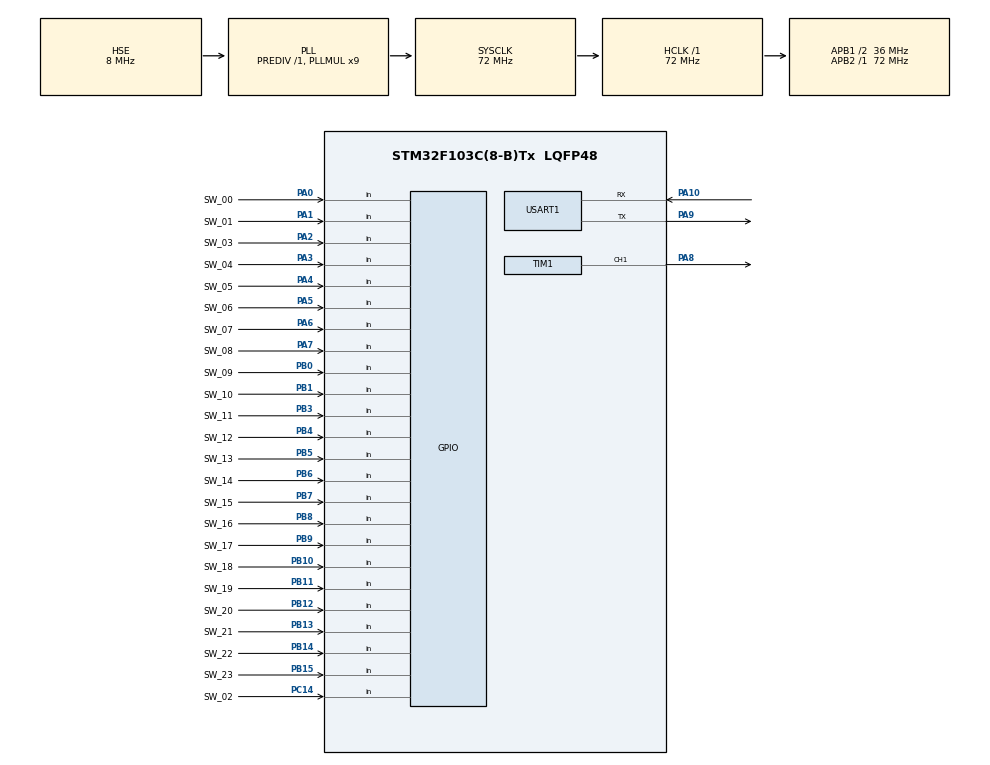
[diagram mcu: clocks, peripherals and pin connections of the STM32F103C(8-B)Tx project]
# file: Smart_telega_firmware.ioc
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Dma.Request0=TIM1_CH1
Dma.TIM1_CH1.0.Direction=DMA_MEMORY_TO_PERIPH
Dma.TIM1_CH1.0.Instance=DMA1_Channel2
Dma.TIM1_CH1.0.MemDataAlignment=DMA_MDATAALIGN_BYTE
Dma.TIM1_CH1.0.MemInc=DMA_MINC_ENABLE
Dma.TIM1_CH1.0.Mode=DMA_NORMAL
Dma.TIM1_CH1.0.PeriphDataAlignment=DMA_PDATAALIGN_BYTE
Dma.TIM1_CH1.0.PeriphInc=DMA_PINC_ENABLE
Dma.TIM1_CH1.0.Priority=DMA_PRIORITY_LOW
Mcu.Family=STM32F1
Mcu.Name=STM32F103C(8-B)Tx
Mcu.Package=LQFP48
NVIC.DMA1_Channel2_IRQn=true\:0\:0\:false\:false\:true\:false\:true\:true
NVIC.PriorityGroup=NVIC_PRIORITYGROUP_4
NVIC.USART1_IRQn=true\:0\:0\:false\:false\:true\:true\:true\:true
PA0-WKUP.GPIO_Label=SW_00
PA0-WKUP.GPIO_PuPd=GPIO_PULLUP
PA0-WKUP.Signal=GPIO_Input
PA1.GPIO_Label=SW_01
PA1.GPIO_PuPd=GPIO_PULLUP
PA1.Signal=GPIO_Input
PA10.Mode=Asynchronous
PA10.Signal=USART1_RX
PA2.GPIO_Label=SW_03
PA2.GPIO_PuPd=GPIO_PULLUP
PA2.Signal=GPIO_Input
PA3.GPIO_Label=SW_04
PA3.GPIO_PuPd=GPIO_PULLUP
PA3.Signal=GPIO_Input
PA4.GPIO_Label=SW_05
PA4.GPIO_PuPd=GPIO_PULLUP
PA4.Signal=GPIO_Input
PA5.GPIO_Label=SW_06
PA5.GPIO_PuPd=GPIO_PULLUP
PA5.Signal=GPIO_Input
PA6.GPIO_Label=SW_07
PA6.GPIO_PuPd=GPIO_PULLUP
PA6.Signal=GPIO_Input
PA7.GPIO_Label=SW_08
PA7.GPIO_PuPd=GPIO_PULLUP
PA7.Signal=GPIO_Input
PA8.Signal=S_TIM1_CH1
PA9.Mode=Asynchronous
PA9.Signal=USART1_TX
PB0.GPIO_Label=SW_09
PB0.GPIO_PuPd=GPIO_PULLUP
PB0.Signal=GPIO_Input
PB1.GPIO_Label=SW_10
PB1.GPIO_PuPd=GPIO_PULLUP
PB1.Signal=GPIO_Input
PB10.GPIO_Label=SW_18
PB10.GPIO_PuPd=GPIO_PULLUP
PB10.Signal=GPIO_Input
PB11.GPIO_Label=SW_19
PB11.GPIO_PuPd=GPIO_PULLUP
PB11.Signal=GPIO_Input
PB12.GPIO_Label=SW_20
PB12.GPIO_PuPd=GPIO_PULLUP
PB12.Signal=GPIO_Input
PB13.GPIO_Label=SW_21
PB13.GPIO_PuPd=GPIO_PULLUP
PB13.Signal=GPIO_Input
PB14.GPIO_Label=SW_22
PB14.GPIO_PuPd=GPIO_PULLUP
PB14.Signal=GPIO_Input
PB15.GPIO_Label=SW_23
PB15.GPIO_PuPd=GPIO_PULLUP
PB15.Signal=GPIO_Input
PB3.GPIO_Label=SW_11
PB3.GPIO_PuPd=GPIO_PULLUP
PB3.Signal=GPIO_Input
PB4.GPIO_Label=SW_12
PB4.GPIO_PuPd=GPIO_PULLUP
PB4.Signal=GPIO_Input
PB5.GPIO_Label=SW_13
PB5.GPIO_PuPd=GPIO_PULLUP
PB5.Signal=GPIO_Input
PB6.GPIO_Label=SW_14
PB6.GPIO_PuPd=GPIO_PULLUP
PB6.Signal=GPIO_Input
PB7.GPIO_Label=SW_15
PB7.GPIO_PuPd=GPIO_PULLUP
PB7.Signal=GPIO_Input
PB8.GPIO_Label=SW_16
PB8.GPIO_PuPd=GPIO_PULLUP
PB8.Signal=GPIO_Input
PB9.GPIO_Label=SW_17
PB9.GPIO_PuPd=GPIO_PULLUP
PB9.Signal=GPIO_Input
PC14-OSC32_IN.GPIO_Label=SW_02
PC14-OSC32_IN.GPIO_PuPd=GPIO_PULLUP
PC14-OSC32_IN.Signal=GPIO_Input
PD0-OSC_IN.Mode=HSE-External-Oscillator
PD0-OSC_IN.Signal=RCC_OSC_IN
PD1-OSC_OUT.Mode=HSE-External-Oscillator
PD1-OSC_OUT.Signal=RCC_OSC_OUT
ProjectManager.HeapSize=0x200
ProjectManager.StackSize=0x400
ProjectManager.TargetToolchain=STM32CubeIDE
RCC.AHBFreq_Value=72000000
RCC.APB1CLKDivider=RCC_HCLK_DIV2
RCC.APB1Freq_Value=36000000
RCC.APB1TimFreq_Value=72000000
RCC.APB2Freq_Value=72000000
RCC.APB2TimFreq_Value=72000000
RCC.HCLKFreq_Value=72000000
RCC.PLLMUL=RCC_PLL_MUL9
RCC.PLLSourceVirtual=RCC_PLLSOURCE_HSE
RCC.SYSCLKFreq_VALUE=72000000
RCC.SYSCLKSource=RCC_SYSCLKSOURCE_PLLCLK
RCC.USBFreq_Value=72000000
SH.S_TIM1_CH1.0=TIM1_CH1,PWM Generation1 CH1
TIM1.Channel-PWM\ Generation1\ CH1=TIM_CHANNEL_1
TIM1.Period=89
TIM3.Channel-PWM\ Generation3\ No\ Output=TIM_CHANNEL_3
USART1.VirtualMode=VM_ASYNC
VP_TIM3_VS_no_output3.Mode=PWM Generation3 No Output
board=custom

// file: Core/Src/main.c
/* USER CODE BEGIN Header */
/* USER CODE END Header */
#include "main.h"

/* USER CODE BEGIN Includes */
#include "app_mainloop.h"
#include "hw_uart_if.h"
/* USER CODE END Includes */

TIM_HandleTypeDef htim1;
TIM_HandleTypeDef htim3;
DMA_HandleTypeDef hdma_tim1_ch1;

UART_HandleTypeDef huart1;

void SystemClock_Config(void);
static void MX_GPIO_Init(void);
static void MX_DMA_Init(void);
static void MX_TIM1_Init(void);
static void MX_TIM3_Init(void);
static void MX_USART1_UART_Init(void);

/* USER CODE BEGIN 0 */

void BootBlink(uint8_t times)
{
    for (uint8_t i = 0; i < times; i++)
    {
        HAL_GPIO_WritePin(GPIOC, GPIO_PIN_13, GPIO_PIN_RESET); // LED ON (активный LOW)
        HAL_Delay(150);
        HAL_GPIO_WritePin(GPIOC, GPIO_PIN_13, GPIO_PIN_SET);   // LED OFF
        HAL_Delay(150);
    }
    HAL_Delay(500); // пауза после серии
}

/* USER CODE END 0 */

int main(void)
{

  /* MCU Configuration--------------------------------------------------------*/

  /* Reset of all peripherals, Initializes the Flash interface and the Systick. */
  HAL_Init();

  /* Configure the system clock */
  SystemClock_Config();

  /* Initialize all configured peripherals */
  MX_GPIO_Init();
  MX_DMA_Init();
  MX_TIM1_Init();
  MX_TIM3_Init();
  MX_USART1_UART_Init();
  /* USER CODE BEGIN 2 */

  GPIO_InitTypeDef GPIO_InitStruct = {0};
  __HAL_RCC_GPIOC_CLK_ENABLE(); // уже включён, но не помешает
  GPIO_InitStruct.Pin  = GPIO_PIN_13;
  GPIO_InitStruct.Mode = GPIO_MODE_OUTPUT_PP;
  GPIO_InitStruct.Pull = GPIO_NOPULL;
  GPIO_InitStruct.Speed = GPIO_SPEED_FREQ_LOW;
  HAL_GPIO_Init(GPIOC, &GPIO_InitStruct);

  BootBlink(3);

  uint8_t hello[] = "=== STM32 BOOTED OK ===\r\n";
  HAL_UART_Transmit(&huart1, hello, sizeof(hello)-1, 100);

  app_mainloop_init(NULL);
  /* USER CODE END 2 */

  /* Infinite loop */
  while (1)
  {

    /* USER CODE BEGIN 3 */

	  app_mainloop_step();
	}
  /* USER CODE END 3 */
}

void SystemClock_Config(void)
{
  RCC_OscInitTypeDef RCC_OscInitStruct = {0};
  RCC_ClkInitTypeDef RCC_ClkInitStruct = {0};

  /** Initializes the RCC Oscillators according to the specified parameters
  * in the RCC_OscInitTypeDef structure.
  */
  RCC_OscInitStruct.OscillatorType = RCC_OSCILLATORTYPE_HSE;
  RCC_OscInitStruct.HSEState = RCC_HSE_ON;
  RCC_OscInitStruct.HSEPredivValue = RCC_HSE_PREDIV_DIV1;
  RCC_OscInitStruct.HSIState = RCC_HSI_ON;
  RCC_OscInitStruct.PLL.PLLState = RCC_PLL_ON;
  RCC_OscInitStruct.PLL.PLLSource = RCC_PLLSOURCE_HSE;
  RCC_OscInitStruct.PLL.PLLMUL = RCC_PLL_MUL9;
  if (HAL_RCC_OscConfig(&RCC_OscInitStruct) != HAL_OK)
  {
    Error_Handler();
  }

  /** Initializes the CPU, AHB and APB buses clocks
  */
  RCC_ClkInitStruct.ClockType = RCC_CLOCKTYPE_HCLK|RCC_CLOCKTYPE_SYSCLK
                              |RCC_CLOCKTYPE_PCLK1|RCC_CLOCKTYPE_PCLK2;
  RCC_ClkInitStruct.SYSCLKSource = RCC_SYSCLKSOURCE_PLLCLK;
  RCC_ClkInitStruct.AHBCLKDivider = RCC_SYSCLK_DIV1;
  RCC_ClkInitStruct.APB1CLKDivider = RCC_HCLK_DIV2;
  RCC_ClkInitStruct.APB2CLKDivider = RCC_HCLK_DIV1;

  if (HAL_RCC_ClockConfig(&RCC_ClkInitStruct, FLASH_LATENCY_2) != HAL_OK)
  {
    Error_Handler();
  }
}

static void MX_TIM1_Init(void)
{

  TIM_MasterConfigTypeDef sMasterConfig = {0};
  TIM_OC_InitTypeDef sConfigOC = {0};
  TIM_BreakDeadTimeConfigTypeDef sBreakDeadTimeConfig = {0};

  htim1.Instance = TIM1;
  htim1.Init.Prescaler = 0;
  htim1.Init.CounterMode = TIM_COUNTERMODE_UP;
  htim1.Init.Period = 89;
  htim1.Init.ClockDivision = TIM_CLOCKDIVISION_DIV1;
  htim1.Init.RepetitionCounter = 0;
  htim1.Init.AutoReloadPreload = TIM_AUTORELOAD_PRELOAD_DISABLE;
  if (HAL_TIM_PWM_Init(&htim1) != HAL_OK)
  {
    Error_Handler();
  }
  sMasterConfig.MasterOutputTrigger = TIM_TRGO_RESET;
  sMasterConfig.MasterSlaveMode = TIM_MASTERSLAVEMODE_DISABLE;
  if (HAL_TIMEx_MasterConfigSynchronization(&htim1, &sMasterConfig) != HAL_OK)
  {
    Error_Handler();
  }
  sConfigOC.OCMode = TIM_OCMODE_PWM1;
  sConfigOC.Pulse = 0;
  sConfigOC.OCPolarity = TIM_OCPOLARITY_HIGH;
  sConfigOC.OCNPolarity = TIM_OCNPOLARITY_HIGH;
  sConfigOC.OCFastMode = TIM_OCFAST_DISABLE;
  sConfigOC.OCIdleState = TIM_OCIDLESTATE_RESET;
  sConfigOC.OCNIdleState = TIM_OCNIDLESTATE_RESET;
  if (HAL_TIM_PWM_ConfigChannel(&htim1, &sConfigOC, TIM_CHANNEL_1) != HAL_OK)
  {
    Error_Handler();
  }
  sBreakDeadTimeConfig.OffStateRunMode = TIM_OSSR_DISABLE;
  sBreakDeadTimeConfig.OffStateIDLEMode = TIM_OSSI_DISABLE;
  sBreakDeadTimeConfig.LockLevel = TIM_LOCKLEVEL_OFF;
  sBreakDeadTimeConfig.DeadTime = 0;
  sBreakDeadTimeConfig.BreakState = TIM_BREAK_DISABLE;
  sBreakDeadTimeConfig.BreakPolarity = TIM_BREAKPOLARITY_HIGH;
  sBreakDeadTimeConfig.AutomaticOutput = TIM_AUTOMATICOUTPUT_DISABLE;
  if (HAL_TIMEx_ConfigBreakDeadTime(&htim1, &sBreakDeadTimeConfig) != HAL_OK)
  {
    Error_Handler();
  }
  HAL_TIM_MspPostInit(&htim1);

}

static void MX_TIM3_Init(void)
{

  TIM_MasterConfigTypeDef sMasterConfig = {0};
  TIM_OC_InitTypeDef sConfigOC = {0};

  htim3.Instance = TIM3;
  htim3.Init.Prescaler = 0;
  htim3.Init.CounterMode = TIM_COUNTERMODE_UP;
  htim3.Init.Period = 65535;
  htim3.Init.ClockDivision = TIM_CLOCKDIVISION_DIV1;
  htim3.Init.AutoReloadPreload = TIM_AUTORELOAD_PRELOAD_DISABLE;
  if (HAL_TIM_PWM_Init(&htim3) != HAL_OK)
  {
    Error_Handler();
  }
  sMasterConfig.MasterOutputTrigger = TIM_TRGO_RESET;
  sMasterConfig.MasterSlaveMode = TIM_MASTERSLAVEMODE_DISABLE;
  if (HAL_TIMEx_MasterConfigSynchronization(&htim3, &sMasterConfig) != HAL_OK)
  {
    Error_Handler();
  }
  sConfigOC.OCMode = TIM_OCMODE_PWM1;
  sConfigOC.Pulse = 0;
  sConfigOC.OCPolarity = TIM_OCPOLARITY_HIGH;
  sConfigOC.OCFastMode = TIM_OCFAST_DISABLE;
  if (HAL_TIM_PWM_ConfigChannel(&htim3, &sConfigOC, TIM_CHANNEL_3) != HAL_OK)
  {
    Error_Handler();
  }

}

static void MX_USART1_UART_Init(void)
{

  huart1.Instance = USART1;
  huart1.Init.BaudRate = 115200;
  huart1.Init.WordLength = UART_WORDLENGTH_8B;
  huart1.Init.StopBits = UART_STOPBITS_1;
  huart1.Init.Parity = UART_PARITY_NONE;
  huart1.Init.Mode = UART_MODE_TX_RX;
  huart1.Init.HwFlowCtl = UART_HWCONTROL_NONE;
  huart1.Init.OverSampling = UART_OVERSAMPLING_16;
  if (HAL_UART_Init(&huart1) != HAL_OK)
  {
    Error_Handler();
  }

}

static void MX_DMA_Init(void)
{

  /* DMA controller clock enable */
  __HAL_RCC_DMA1_CLK_ENABLE();

  /* DMA interrupt init */
  /* DMA1_Channel2_IRQn interrupt configuration */
  HAL_NVIC_SetPriority(DMA1_Channel2_IRQn, 0, 0);
  HAL_NVIC_EnableIRQ(DMA1_Channel2_IRQn);

}

static void MX_GPIO_Init(void)
{
  GPIO_InitTypeDef GPIO_InitStruct = {0};

  /* GPIO Ports Clock Enable */
  __HAL_RCC_GPIOC_CLK_ENABLE();
  __HAL_RCC_GPIOD_CLK_ENABLE();
  __HAL_RCC_GPIOA_CLK_ENABLE();
  __HAL_RCC_GPIOB_CLK_ENABLE();

  /*Configure GPIO pin : SW_02_Pin */
  GPIO_InitStruct.Pin = SW_02_Pin;
  GPIO_InitStruct.Mode = GPIO_MODE_INPUT;
  GPIO_InitStruct.Pull = GPIO_PULLUP;
  HAL_GPIO_Init(SW_02_GPIO_Port, &GPIO_InitStruct);

  /*Configure GPIO pins : SW_00_Pin SW_01_Pin SW_03_Pin SW_04_Pin
                           SW_05_Pin SW_06_Pin SW_07_Pin SW_08_Pin */
  GPIO_InitStruct.Pin = SW_00_Pin|SW_01_Pin|SW_03_Pin|SW_04_Pin
                          |SW_05_Pin|SW_06_Pin|SW_07_Pin|SW_08_Pin;
  GPIO_InitStruct.Mode = GPIO_MODE_INPUT;
  GPIO_InitStruct.Pull = GPIO_PULLUP;
  HAL_GPIO_Init(GPIOA, &GPIO_InitStruct);

  /*Configure GPIO pins : SW_09_Pin SW_10_Pin SW_18_Pin SW_19_Pin
                           SW_20_Pin SW_21_Pin SW_22_Pin SW_23_Pin
                           SW_11_Pin SW_12_Pin SW_13_Pin SW_14_Pin
                           SW_15_Pin SW_16_Pin SW_17_Pin */
  GPIO_InitStruct.Pin = SW_09_Pin|SW_10_Pin|SW_18_Pin|SW_19_Pin
                          |SW_20_Pin|SW_21_Pin|SW_22_Pin|SW_23_Pin
                          |SW_11_Pin|SW_12_Pin|SW_13_Pin|SW_14_Pin
                          |SW_15_Pin|SW_16_Pin|SW_17_Pin;
  GPIO_InitStruct.Mode = GPIO_MODE_INPUT;
  GPIO_InitStruct.Pull = GPIO_PULLUP;
  HAL_GPIO_Init(GPIOB, &GPIO_InitStruct);

}

void Error_Handler(void)
{
  /* USER CODE BEGIN Error_Handler_Debug */
	__disable_irq();
	  while(1)
	  {
	    // Если есть светодиод на плате — моргай им
	    HAL_GPIO_TogglePin(GPIOC, GPIO_PIN_13); // встроенный LED на PC13
	    for(volatile int i = 0; i < 100000; i++);
	  }
  /* USER CODE END Error_Handler_Debug */
}
